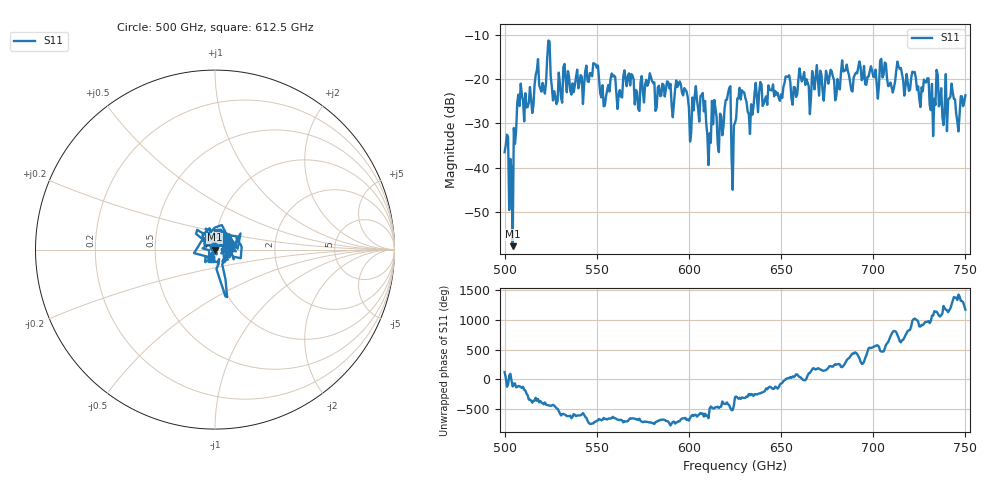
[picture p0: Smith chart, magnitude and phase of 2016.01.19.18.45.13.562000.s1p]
!Created with skrf (http://scikit-rf.org).
# GHz S RI R 50.0
!freq ReS11 ImS11
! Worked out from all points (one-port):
!   401 points, 500 GHz to 750 GHz, reference 50 ohm
!   lowest |S11| = -57.8 dB at 504.4 GHz (marker M1), VSWR 1.00, Z = 49.9 - j0.113 ohm
!   |S11| at or under -10 dB: start of sweep to end of sweep
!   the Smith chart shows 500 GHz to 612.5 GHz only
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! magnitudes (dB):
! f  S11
! 500 GHz  -36.5
! 503.1 GHz  -38.0
! 504.4 GHz  -57.8
! 508.1 GHz  -26.1
! 521.2 GHz  -22.2
! 523.8 GHz  -11.3
! 527.5 GHz  -23.9
! 531.2 GHz  -25.3
! 549.4 GHz  -16.7
! 553.1 GHz  -21.4
! 558.8 GHz  -19.4
! 562.5 GHz  -22.5
! 566.2 GHz  -21.6
! 593.8 GHz  -21.8
! 601.2 GHz  -32.1
! 607.5 GHz  -23.1
! 610.6 GHz  -39.4
! 613.8 GHz  -24.7
! 616.9 GHz  -27.8
! 621.2 GHz  -23.1
! 625 GHz  -29.9
! 628.8 GHz  -22.5
! 633.1 GHz  -32.4
! 656.2 GHz  -25.8
! 687.5 GHz  -20.9
! 718.8 GHz  -20.8
! 745.6 GHz  -29.6
! 750 GHz  -23.7
